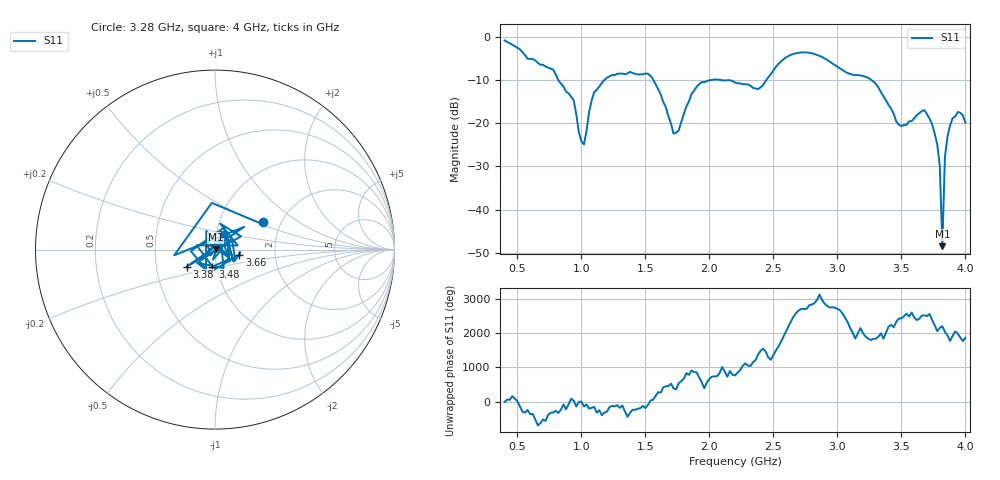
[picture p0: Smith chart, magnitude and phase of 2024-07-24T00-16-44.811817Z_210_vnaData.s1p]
!Created with skrf (http://scikit-rf.org).
# Hz S RI R 50.0
!freq ReS11 ImS11
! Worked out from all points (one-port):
!   181 points, 400 MHz to 4 GHz, reference 50 ohm
!   lowest |S11| = -48.5 dB at 3.82 GHz (marker M1), VSWR 1.01, Z = 50.3 + j0.227 ohm
!   |S11| at or under -10 dB: 819.5 MHz to 1.179 GHz (359.3 MHz wide, 36 % of centre); 1.564 GHz to 2.005 GHz (441.1 MHz wide, 24.7 % of centre); 3.267 GHz to end of sweep (the widest 3 of 4)
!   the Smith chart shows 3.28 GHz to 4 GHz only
!   S11 on the Smith chart (normalised r, x): 3.28 GHz: 1.61, +0.54; 3.38 GHz: 0.72, -0.14; 3.48 GHz: 0.95, -0.18; 3.66 GHz: 1.31, -0.08; 4 GHz: 1.08, +0.20
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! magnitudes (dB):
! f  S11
! 400 MHz  -0.8
! 860 MHz  -11.5
! 940 MHz  -14.6
! 980 MHz  -22.1
! 1.02 GHz  -24.9
! 1.1 GHz  -12.8
! 1.3 GHz  -8.5
! 1.54 GHz  -9.0
! 1.72 GHz  -22.4
! 1.76 GHz  -21.7
! 1.92 GHz  -10.9
! 2.2 GHz  -10.5
! 2.38 GHz  -12.1
! 2.66 GHz  -3.9
! 3.1 GHz  -8.5
! 3.28 GHz  -10.3
! 3.38 GHz  -14.7
! 3.48 GHz  -20.3
! 3.56 GHz  -19.5
! 3.66 GHz  -17.2
! 3.72 GHz  -18.9
! 3.78 GHz  -24.8
! 3.8 GHz  -30.0
! 3.82 GHz  -48.5
! 3.84 GHz  -27.8
! 3.86 GHz  -23.1
! 3.94 GHz  -17.4
! 4 GHz  -19.9
